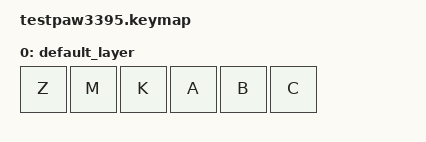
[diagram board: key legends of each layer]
#include <behaviors.dtsi>
#include <dt-bindings/zmk/keys.h>

/ {

    keymap {
        compatible = "zmk,keymap";
        default_layer { // Layer 0
            bindings = <
                &kp Z    &kp M    &kp K
                &kp A    &kp B    &kp C
            >;
        };
    };



};
